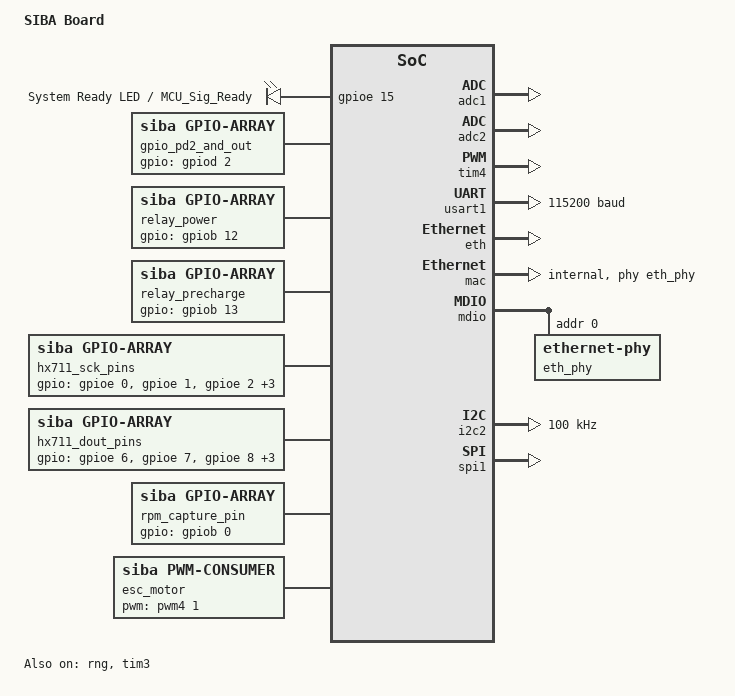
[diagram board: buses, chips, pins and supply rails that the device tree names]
/dts-v1/;
#include <wch/ch32v307/ch32v307vc.dtsi>
#include <zephyr/dt-bindings/gpio/gpio.h>
#include <zephyr/dt-bindings/pinctrl/ch32v20x_30x-pinctrl.h>
#include <zephyr/dt-bindings/pwm/pwm.h>
#include <zephyr/dt-bindings/clock/ch32v20x_30x-clocks.h>
#include <zephyr/dt-bindings/i2c/i2c.h>
#include <zephyr/dt-bindings/spi/spi.h>

#define CH32V20X_V30X_PINMUX_ADC1_RM 0
#define CH32V20X_V30X_PINMUX_ADC2_RM 0
/* I2C2 não tem remap no AFIO (pinos fixos PB10/PB11) */
#define CH32V20X_V30X_PINMUX_I2C2_RM 0

/ {
    model = "SIBA Board";
    compatible = "wch,ch32v307";

    chosen {
        zephyr,sram = &sram0;
        zephyr,flash = &flash0;
        zephyr,console = &usart1;
        zephyr,shell-uart = &usart1;
    };

    aliases {
        led0 = &ready_pin;
    };

    /* PE15 — LED de status + MCU_Sig_Ready (porta AND → SSR 100 A).
     * Mesmo pino cumpre dois papéis: indica "sistema pronto" ao operador
     * e habilita o SSR via porta lógica AND (PD2 é a outra entrada). */
    leds {
        compatible = "gpio-leds";
        ready_pin: ready_pin {
            gpios = <&gpioe 15 GPIO_ACTIVE_HIGH>;
            label = "System Ready LED / MCU_Sig_Ready";
        };
    };

    /* PD2 — saída da porta AND que aciona o SSR de 100 A.
     * Precisa de PE15=1 (MCU pronto) E PD2=1 (confirmação de sequência)
     * para fechar o SSR — proteção de dois fatores. */
    gpio_pd2_and_out: gpio-pd2-and-out {
        compatible = "siba,gpio-array";
        gpios = <&gpiod 2 GPIO_ACTIVE_HIGH>;
    };

    /* ── Relés de potência ─────────────────────────────────────────────── *
     * Sequência de energização obrigatória (ver Security_Manager):         *
     *   LIGAR:   relay_precharge ON → espera 3 s → relay_power ON         *
     *   DESLIGAR: relay_power OFF → relay_precharge OFF                   *
     * A pré-carga limita a corrente de inrush nos capacitores do ESC.    */
    relay_power: relay-power {
        compatible = "siba,gpio-array";
        gpios = <&gpiob 12 GPIO_ACTIVE_HIGH>;
    };

    relay_precharge: relay-precharge {
        compatible = "siba,gpio-array";
        gpios = <&gpiob 13 GPIO_ACTIVE_HIGH>;
    };

    /* ── ADC dual simultâneo (master=ADC1, slave=ADC2) ─────────────────── *
     * ADC1 master: PA0=Pitot, PA1=termistor_bat, PA3=termistor_motor       *
     * ADC2 slave:  PC3=v_batt, PC4=i_batt, PC2=reserva                    *
     * ADC2 não tem linha DMA própria no CH32V307 — o resultado sai pela    *
     * transferência de 32 bits do ADC1 (bits [31:16]=ADC2, [15:0]=ADC1).  *
     * O driver detecta modo dual pela ausência de `dmas` no nó adc2.      */
    adc1: adc@40012400 {
        compatible = "wch,adc";
        reg = <0x40012400 0x400>;
        clocks = <&rcc CH32V20X_V30X_CLOCK_ADC1>;
        interrupt-parent = <&pfic>;
        interrupts = <34>;
        dmas = <&dma1 1>;
        dma-names = "rx";
        pinctrl-0 = <&adc1_default>;
        pinctrl-names = "default";
        status = "okay";
        #io-channel-cells = <1>;
    };

    adc2: adc@40012800 {
        compatible = "wch,adc";
        reg = <0x40012800 0x400>;
        clocks = <&rcc CH32V20X_V30X_CLOCK_ADC2>;
        interrupt-parent = <&pfic>;
        interrupts = <34>;
        pinctrl-0 = <&adc2_default>;
        pinctrl-names = "default";
        status = "okay";
        #io-channel-cells = <1>;
    };

    /* ── HX711 × 6 células de carga ────────────────────────────────────── *
     * PE0..PE5 = PD_SCK (clock, saída)  — uma por célula                   *
     * PE6..PE11 = DOUT  (dado serial, entrada) — uma por célula            */
    hx711_sck_pins: hx711-sck-pins {
        compatible = "siba,gpio-array";
        gpios = <&gpioe 0 GPIO_ACTIVE_HIGH>,
                <&gpioe 1 GPIO_ACTIVE_HIGH>,
                <&gpioe 2 GPIO_ACTIVE_HIGH>,
                <&gpioe 3 GPIO_ACTIVE_HIGH>,
                <&gpioe 4 GPIO_ACTIVE_HIGH>,
                <&gpioe 5 GPIO_ACTIVE_HIGH>;
    };

    hx711_dout_pins: hx711-dout-pins {
        compatible = "siba,gpio-array";
        gpios = <&gpioe 6  GPIO_ACTIVE_HIGH>,
                <&gpioe 7  GPIO_ACTIVE_HIGH>,
                <&gpioe 8  GPIO_ACTIVE_HIGH>,
                <&gpioe 9  GPIO_ACTIVE_HIGH>,
                <&gpioe 10 GPIO_ACTIVE_HIGH>,
                <&gpioe 11 GPIO_ACTIVE_HIGH>;
    };

    /* ── RPM (TIM3 CH3 / PB0, input capture) ────────────────────────── */
    rpm_capture_pin: rpm-capture-pin {
        compatible = "siba,gpio-array";
        gpios = <&gpiob 0 GPIO_ACTIVE_HIGH>;
    };

    /* ── ESC PWM (TIM4 CH1 / PB6, 50 Hz) ───────────────────────────── */
    tim3: timer@40000400 {
        compatible = "wch,gptm";
        reg = <0x40000400 0x400>;
        clocks = <&rcc CH32V20X_V30X_CLOCK_TIM3>;
        interrupt-parent = <&pfic>;
        interrupts = <45>;
        channels = <4>;
        status = "okay";
        prescaler = <0>;
    };

    tim4: timer@40000800 {
        compatible = "wch,gptm";
        reg = <0x40000800 0x400>;
        clocks = <&rcc CH32V20X_V30X_CLOCK_TIM4>;
        interrupt-parent = <&pfic>;
        interrupts = <46>;
        channels = <4>;
        prescaler = <143>;
        status = "okay";

        pwm4: pwm {
            compatible = "wch,gptm-pwm";
            #pwm-cells = <3>;
            pinctrl-0 = <&tim4_ch1_default>;
            pinctrl-names = "default";
            status = "okay";
        };
    };

    esc_motor: esc-motor {
        compatible = "siba,pwm-consumer";
        pwms = <&pwm4 1 PWM_USEC(20000) PWM_POLARITY_NORMAL>;
    };

};

/* ==================================================================== *
 * PINCTRL                                                               *
 * ==================================================================== */

&pinctrl {

    /* ADC1 master: PA0=CH0(Pitot), PA1=CH1(termistor_bat), PA3=CH3(termistor_motor)
     * PA2 é CS do W25Q — não usar como ADC.
     * PA5/PA6/PA7 são SPI1 (W25Q) — não usar como ADC.                    */
    adc1_default: adc1_default {
        group1 { pinmux = <CH32V20X_V30X_PINMUX_DEFINE(PA, 0, ADC1, 0)>; };  /* CH0  - Pitot (air_speed) */
        group2 { pinmux = <CH32V20X_V30X_PINMUX_DEFINE(PA, 1, ADC1, 0)>; };  /* CH1  - termistor bateria */
        group3 { pinmux = <CH32V20X_V30X_PINMUX_DEFINE(PA, 3, ADC1, 0)>; };  /* CH3  - termistor motor */
    };

    /* ADC2 slave (dual mode, sem DMA próprio):
     * PC3=CH13(v_batt), PC4=CH14(i_batt), PC2=CH12(reserva)
     * PC0/PC1 são LinkLED/ACTLED do PHY ETH interno — não usar como ADC. */
    adc2_default: adc2_default {
        group1 { pinmux = <CH32V20X_V30X_PINMUX_DEFINE(PC, 3, ADC2, 0)>; };  /* CH13 - v_batt */
        group2 { pinmux = <CH32V20X_V30X_PINMUX_DEFINE(PC, 4, ADC2, 0)>; };  /* CH14 - i_batt */
        group3 { pinmux = <CH32V20X_V30X_PINMUX_DEFINE(PC, 2, ADC2, 0)>; };  /* CH12 - reserva */
    };

    /* SPI1 — W25Q flash (PA5=SCK, PA6=MISO, PA7=MOSI; PA2=CS via GPIO) */
    spi1_default: spi1_default {
        group1 {
            pinmux = <CH32V20X_V30X_PINMUX_DEFINE(PA, 5, SPI1, 0)>;  /* SCK  */
            drive-push-pull;
            slew-rate = "max-speed-50mhz";
        };
        group2 {
            pinmux = <CH32V20X_V30X_PINMUX_DEFINE(PA, 6, SPI1, 0)>;  /* MISO */
            bias-pull-up;
        };
        group3 {
            pinmux = <CH32V20X_V30X_PINMUX_DEFINE(PA, 7, SPI1, 0)>;  /* MOSI */
            drive-push-pull;
            slew-rate = "max-speed-50mhz";
        };
    };

    /* I2C2 — EEPROM FT24C32A (PB10=SCL, PB11=SDA) + expansão futura.
     * Open-drain com pull-up externo. PB11 não conflita com relay_precharge
     * (PB13) — são pinos distintos.                                       */
    i2c2_default: i2c2_default {
        group1 {
            pinmux = <CH32V20X_V30X_PINMUX_DEFINE(PB, 10, I2C2, 0)>;
            output-high;
            drive-open-drain;
        };
        group2 {
            pinmux = <CH32V20X_V30X_PINMUX_DEFINE(PB, 11, I2C2, 0)>;
            output-high;
            drive-open-drain;
        };
    };

    usart1_default: usart1_default {
        group1 {
            pinmux = <USART1_TX_PA9_0>;
            output-high;
            drive-push-pull;
            slew-rate = "max-speed-10mhz";
        };
        group2 {
            pinmux = <USART1_RX_PA10_0>;
            bias-pull-up;
        };
    };

    tim3_ch3_pb0: tim3_ch3_pb0 {
        group1 {
            pinmux = <CH32V20X_V30X_PINMUX_DEFINE(PB, 0, TIM3, 0)>;
            bias-pull-up;
        };
    };

    tim4_ch1_default: tim4_ch1_default {
        group1 {
            pinmux = <CH32V20X_V30X_PINMUX_DEFINE(PB, 6, TIM4, 0)>;
            drive-push-pull;
            slew-rate = "max-speed-50mhz";
        };
    };

    mac_default: mac_default {
        mac_internal_rxp {
            pinmux = <CH32V20X_V30X_PINMUX_DEFINE(PC, 6, ETH, 0)>;
            slew-rate = "max-speed-50mhz";
        };
        mac_internal_rxn {
            pinmux = <CH32V20X_V30X_PINMUX_DEFINE(PC, 7, ETH, 0)>;
            slew-rate = "max-speed-50mhz";
        };
        mac_internal_txp {
            pinmux = <CH32V20X_V30X_PINMUX_DEFINE(PC, 8, ETH, 0)>;
            slew-rate = "max-speed-50mhz";
        };
        mac_internal_txn {
            pinmux = <CH32V20X_V30X_PINMUX_DEFINE(PC, 9, ETH, 0)>;
            slew-rate = "max-speed-50mhz";
        };
    };

    mdio_default: mdio_default {
        /* PHY interno — sem pinos MDIO externos */
    };
};

/* ==================================================================== *
 * CLOCKS / PERIFÉRICOS                                                  *
 * ==================================================================== */

&clk_hse { status = "okay"; };
&pll { clocks = <&clk_hse>; status = "okay"; };
&rcc { clocks = <&pll>; };

&gpioa { status = "okay"; };
&gpiob { status = "okay"; };
&gpioc { status = "okay"; };
&gpiod { status = "okay"; };
&gpioe { status = "okay"; };

/* dma1 "disabled" como controller genérico Zephyr: o driver adc_ch32v307.c
 * faz MMIO direto no DMA1, não usa a API genérica. Com dma1 "okay" o
 * dma_wch.c registra seu handler na IRQ27 e o driver ADC sobrescreve depois
 * (race). Manter "disabled" e deixar o driver ADC dono da IRQ.           */
&dma1 { status = "disabled"; };

&usart1 {
    status = "okay";
    current-speed = <115200>;
    pinctrl-0 = <&usart1_default>;
    pinctrl-names = "default";
};

&eth { status = "okay"; };

&mac {
    status = "okay";
    pinctrl-0 = <&mac_default>;
    pinctrl-names = "default";
    phy-connection-type = "internal";
    phy-handle = <&eth_phy>;
    local-mac-address = [02 00 00 02 03 03];
    internal-phy-pllmul = "15";
    internal-phy-prediv = "2";
};

&mdio {
    status = "okay";
    pinctrl-0 = <&mdio_default>;
    pinctrl-names = "default";
    eth_phy: ethernet-phy@0 {
        compatible = "ethernet-phy";
        reg = <0x00>;
    };
};

&rng { status = "okay"; };

/* EEPROM FT24C32A (I2C2, 4 KB) — A0=A1=A2=GND → endereço 0x50. */
&i2c2 {
    status = "okay";
    pinctrl-0 = <&i2c2_default>;
    pinctrl-names = "default";
    clock-frequency = <I2C_BITRATE_STANDARD>;
};

/* SPI1 — W25Q flash (dados de logging / configuração extra).
 * CS gerenciado via GPIO PA2 (GPIO_ACTIVE_LOW, controlado em software).  */
&spi1 {
    status = "okay";
    pinctrl-0 = <&spi1_default>;
    pinctrl-names = "default";
    cs-gpios = <&gpioa 2 GPIO_ACTIVE_LOW>;
};

&sram0 { reg = <0x20000000 DT_SIZE_K(128)>; };
&flash0 { reg = <0x08000000 DT_SIZE_K(198)>; };
